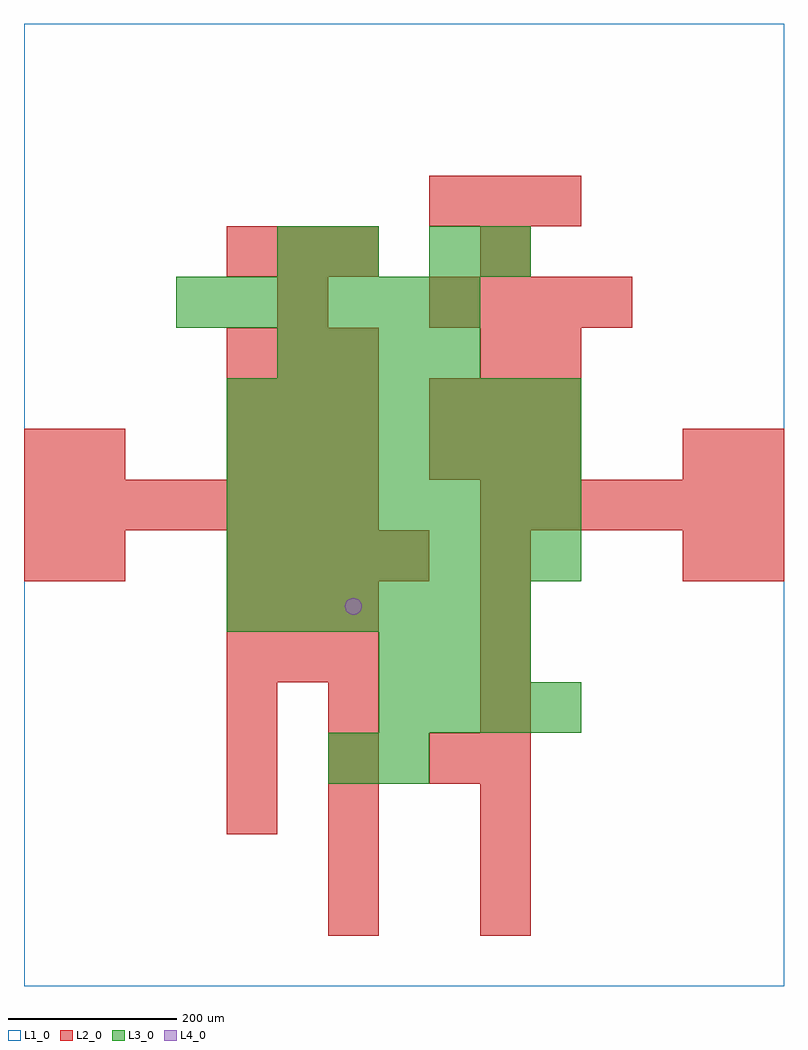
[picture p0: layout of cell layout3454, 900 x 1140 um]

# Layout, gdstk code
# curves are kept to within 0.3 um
import gdstk
lib = gdstk.Library(unit=1e-6, precision=1e-09)
def R(c, l, rs):  # rectangles x0, y0, x1, y1
    for r in rs: c.add(gdstk.rectangle(r[:2], r[2:], *l))
def A(c, l, x, y, w, h, nx, ny, dx, dy):  # array of equal rectangles
    R(c, l, [(x+i*dx, y+j*dy, x+i*dx+w, y+j*dy+h) for i in range(nx) for j in range(ny)])
def P(c, l, *ps):  # polygons
    for p in ps: c.add(gdstk.Polygon(p, *l))
L1_0 = (1, 0)
L2_0 = (2, 0)
L3_0 = (3, 0)
L4_0 = (4, 0)

layout3454 = lib.new_cell('layout3454')
R(layout3454, L1_0, [(0,0,900,1140)])
A(layout3454, L2_0, 360, 60, 60, 60, 1, 3, 0, 60)
A(layout3454, L2_0, 540, 60, 60, 60, 1, 8, 0, 60)
A(layout3454, L2_0, 240, 240, 60, 60, 3, 1, 120, 0)
A(layout3454, L2_0, 240, 360, 60, 60, 3, 2, 60, 60)
A(layout3454, L2_0, 240, 480, 60, 60, 4, 1, 60, 0)
A(layout3454, L2_0, 0, 540, 60, 60, 7, 1, 60, 0)
A(layout3454, L2_0, 540, 540, 60, 60, 6, 1, 60, 0)
A(layout3454, L2_0, 240, 600, 60, 60, 3, 3, 60, 60)
A(layout3454, L2_0, 480, 600, 60, 60, 3, 2, 60, 60)
A(layout3454, L2_0, 480, 780, 60, 60, 4, 1, 60, 0)
A(layout3454, L2_0, 240, 840, 60, 60, 3, 1, 60, 0)
A(layout3454, L2_0, 480, 900, 60, 60, 3, 1, 60, 0)
R(layout3454, L2_0, [(240,180,300,240), (240,300,300,360), (360,300,420,360), (0,480,60,540), (60,480,120,540), (780,480,840,540), (840,480,900,540), (0,600,60,660), (60,600,120,660), (780,600,840,660), (840,600,900,660), (540,720,600,780), (600,720,660,780), (300,780,360,840), (540,840,600,900)])
A(layout3454, L3_0, 420, 300, 60, 60, 4, 1, 60, 0)
A(layout3454, L3_0, 420, 360, 60, 60, 3, 1, 60, 0)
A(layout3454, L3_0, 240, 420, 60, 60, 6, 1, 60, 0)
A(layout3454, L3_0, 240, 480, 60, 60, 7, 4, 60, 60)
A(layout3454, L3_0, 300, 720, 60, 60, 4, 1, 60, 0)
A(layout3454, L3_0, 180, 780, 60, 60, 6, 1, 60, 0)
R(layout3454, L3_0, [(360,240,420,300), (420,240,480,300), (300,840,360,900), (360,840,420,900), (480,840,540,900), (540,840,600,900)])
P(layout3454, L4_0, [(400,450),(399.239,453.827),(397.071,457.071),(393.827,459.239),(390,460),(386.173,459.239),(382.929,457.071),(380.761,453.827),(380,450),(380.761,446.173),(382.929,442.929),(386.173,440.761),(390,440),(393.827,440.761),(397.071,442.929),(399.239,446.173)])

lib.write_gds('layout3454.gds')
